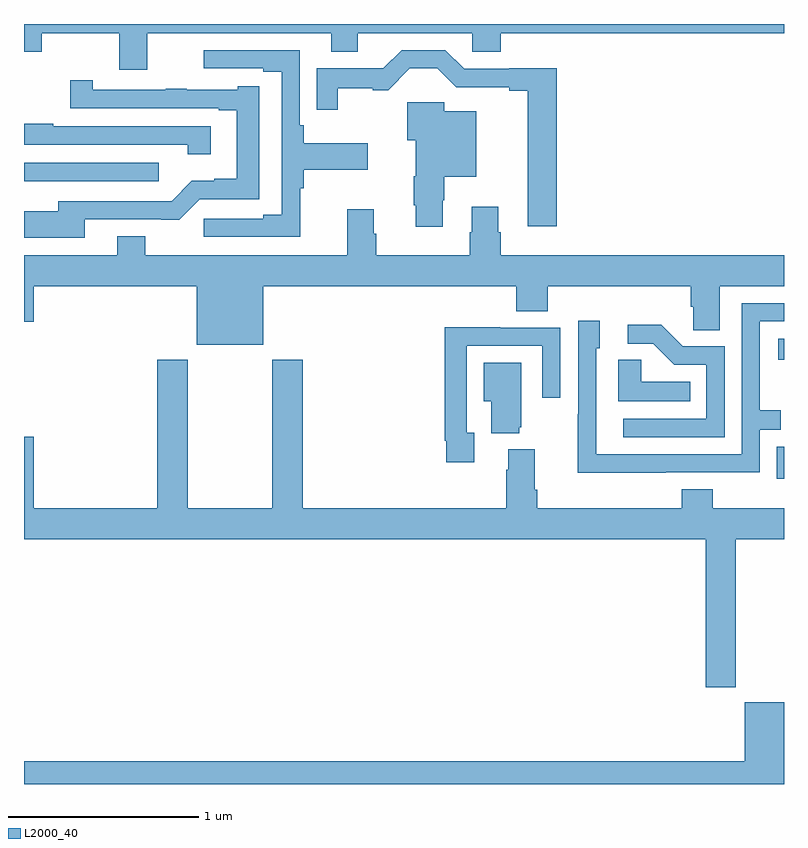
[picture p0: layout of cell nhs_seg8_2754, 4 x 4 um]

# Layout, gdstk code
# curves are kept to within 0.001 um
import gdstk
lib = gdstk.Library(unit=1e-6, precision=1e-09)
def R(c, l, rs):  # rectangles x0, y0, x1, y1
    for r in rs: c.add(gdstk.rectangle(r[:2], r[2:], *l))
def P(c, l, *ps):  # polygons
    for p in ps: c.add(gdstk.Polygon(p, *l))
L2000_40 = (2000, 40)

nhs_seg8_2754 = lib.new_cell('nhs_seg8_2754')
R(nhs_seg8_2754, L2000_40, [(288.963,1095.507,289,1095.675), (288.969,1096.133,289,1096.243)])
P(nhs_seg8_2754, L2000_40, [(285,1097.754),(285.093,1097.754),(285.093,1097.852),(285.502,1097.852),(285.502,1097.658),(285.649,1097.658),(285.649,1097.852),(286.616,1097.852),(286.616,1097.753),(286.756,1097.753),(286.756,1097.852),(287.358,1097.852),(287.358,1097.754),(287.51,1097.754),(287.51,1097.852),(289,1097.852),(289,1097.9),(285,1097.9)],
  [(287.804,1097.666),(287.555,1097.666),(287.555,1097.664),(287.316,1097.664),(287.217,1097.763),(286.989,1097.763),(286.892,1097.666),(286.542,1097.666),(286.542,1097.448),(286.651,1097.448),(286.651,1097.563),(286.835,1097.563),(286.835,1097.551),(286.916,1097.551),(287.031,1097.666),(287.176,1097.666),(287.274,1097.568),(287.555,1097.568),(287.555,1097.548),(287.651,1097.548),(287.651,1096.836),(287.804,1096.836)],
  [(286.455,1097.036),(286.472,1097.036),(286.472,1097.132),(286.81,1097.132),(286.81,1097.272),(286.472,1097.272),(286.472,1097.368),(286.452,1097.368),(286.452,1097.763),(285.945,1097.763),(285.945,1097.667),(286.259,1097.667),(286.259,1097.649),(286.356,1097.649),(286.356,1096.895),(286.259,1096.895),(286.259,1096.875),(285.945,1096.875),(285.945,1096.779),(286.455,1096.779)],
  [(285.319,1096.872),(285.818,1096.871),(285.924,1096.977),(286.237,1096.977),(286.237,1097.572),(286.125,1097.572),(286.125,1097.553),(285.857,1097.553),(285.857,1097.558),(285.745,1097.558),(285.745,1097.553),(285.363,1097.553),(285.363,1097.605),(285.243,1097.605),(285.243,1097.457),(286.025,1097.457),(286.025,1097.445),(286.121,1097.445),(286.121,1097.086),(286.002,1097.086),(286.002,1097.074),(285.883,1097.074),(285.777,1096.968),(285.179,1096.968),(285.179,1096.915),(285,1096.915),(285,1096.775),(285.319,1096.775)],
  [(287.203,1096.973),(287.211,1096.973),(287.211,1097.096),(287.38,1097.096),(287.38,1097.44),(287.211,1097.44),(287.211,1097.488),(287.018,1097.488),(287.018,1097.288),(287.063,1097.288),(287.063,1097.1),(287.051,1097.1),(287.051,1096.945),(287.063,1096.945),(287.063,1096.833),(287.203,1096.833)],
  [(285.982,1097.361),(285.155,1097.361),(285.155,1097.374),(285,1097.374),(285,1097.265),(285.861,1097.265),(285.861,1097.214),(285.982,1097.214)],
  [(285.009,1097.073),(285.709,1097.073),(285.709,1097.169),(285,1097.169),(285,1097.072),(285.009,1097.072)],
  [(286.258,1096.52),(287.591,1096.52),(287.591,1096.387),(287.756,1096.387),(287.756,1096.52),(288.509,1096.52),(288.509,1096.411),(288.522,1096.411),(288.522,1096.288),(288.661,1096.288),(288.661,1096.52),(289,1096.52),(289,1096.684),(287.51,1096.684),(287.51,1096.803),(287.497,1096.803),(287.497,1096.939),(287.357,1096.939),(287.357,1096.803),(287.345,1096.803),(287.345,1096.684),(286.853,1096.684),(286.853,1096.796),(286.84,1096.796),(286.84,1096.924),(286.7,1096.924),(286.7,1096.684),(285.639,1096.684),(285.639,1096.783),(285.491,1096.783),(285.491,1096.684),(285,1096.684),(285,1096.332),(285.052,1096.332),(285.052,1096.52),(285.908,1096.52),(285.908,1096.211),(286.258,1096.211)],
  [(288.377,1095.54),(288.873,1095.54),(288.873,1095.765),(288.983,1095.765),(288.983,1095.866),(288.873,1095.866),(288.873,1096.335),(289,1096.335),(289,1096.431),(288.777,1096.431),(288.777,1095.636),(288.012,1095.636),(288.012,1096.194),(288.031,1096.194),(288.031,1096.339),(287.916,1096.339),(287.916,1095.845),(287.914,1095.845),(287.914,1095.539),(288.377,1095.539)],
  [(288.687,1096.203),(288.468,1096.203),(288.355,1096.316),(288.177,1096.316),(288.177,1096.218),(288.311,1096.218),(288.422,1096.107),(288.591,1096.107),(288.591,1095.822),(288.153,1095.822),(288.153,1095.726),(288.687,1095.726)],
  [(287.371,1095.75),(287.331,1095.75),(287.331,1096.206),(287.727,1096.206),(287.727,1095.933),(287.823,1095.933),(287.823,1096.302),(287.507,1096.302),(287.507,1096.304),(287.215,1096.304),(287.215,1095.706),(287.223,1095.706),(287.223,1095.594),(287.371,1095.594)],
  [(288.506,1096.018),(288.249,1096.018),(288.249,1096.133),(288.128,1096.133),(288.128,1095.914),(288.506,1095.914)],
  [(288.747,1095.188),(289,1095.188),(289,1095.352),(288.626,1095.352),(288.626,1095.451),(288.461,1095.451),(288.461,1095.352),(287.702,1095.352),(287.702,1095.448),(287.689,1095.448),(287.689,1095.661),(287.549,1095.661),(287.549,1095.554),(287.537,1095.554),(287.537,1095.352),(286.466,1095.352),(286.466,1096.132),(286.306,1096.132),(286.306,1095.352),(285.861,1095.352),(285.861,1096.132),(285.701,1096.132),(285.701,1095.352),(285.052,1095.352),(285.052,1095.727),(285,1095.727),(285,1095.188),(288.587,1095.188),(288.587,1094.409),(288.747,1094.409)],
  [(287.606,1095.777),(287.617,1095.777),(287.617,1096.117),(287.42,1096.117),(287.42,1095.914),(287.459,1095.914),(287.459,1095.746),(287.606,1095.746)],
  [(289,1094.329),(288.794,1094.329),(288.794,1094.02),(285,1094.02),(285,1093.9),(289,1093.9)])

lib.write_gds('nhs_seg8_2754.gds')
